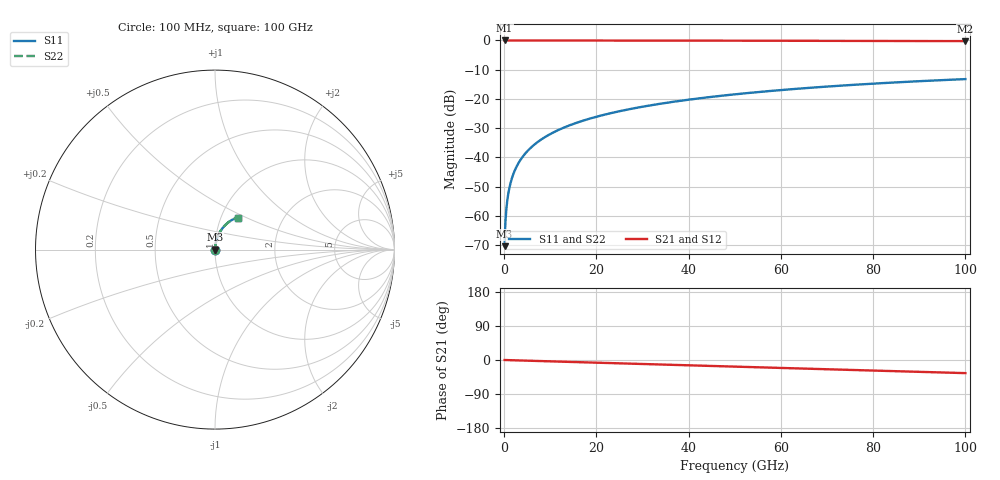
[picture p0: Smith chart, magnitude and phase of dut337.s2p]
! Touchstone file exported from HFSS 2026.1.0
!  File:  C:/ffzhzh/LocalFiles/Ansys_Project_Files/temp_train_TSV_337_1783509768_44152.aedt
!  Generated:  07:24:10 PM Jul  8, 2026
!  Design:  TSV
!  Project:  temp_train_TSV_337_1783509768_44152
! Variables:
!  h_bsmrdl = 2um
!  h_ox = 20um
!  h_rdl = 5um
!  h_sub = 56.56um
!  h_tmrdl = 5um
!  h_tsv = 56.56um
!  h_via = 3um
!  l_bsmrdl = 300um
!  l_sub = 417.26um
!  l_tmrdl = 200um
!  m_sub = 200um
!  pitch = 58.89um
!  r_tsv = 8.63um
!  s_tmrdl = 10um
!  w_bsmrdl = 18um
!  w_sub = 500um
!  w_tmrdl = 12um
!  x_tsv_center1 = 206um
!  x_tsv_center2 = 524um
!  x_tsv_center3 = 736um
!  x_tsv_center4 = 1054um
!  x_tsv_center5 = 1266um
!  x_tsv_center6 = 1584um
# GHz S MA R 50.000000
! Terminal data exported
! Port[1] = TSV1_1_T1
! Port[2] = TSV1_1_T2
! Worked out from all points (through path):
!   1000 points, 100 MHz to 100 GHz, reference 50 ohm
!   highest |S21| = 0.00 dB at 100 MHz (marker M1); lowest = -0.2 dB at 100 GHz (marker M2)
!   group delay of S21, straight-line fit = 962 fs
!   lowest |S11| = -70.3 dB at 100 MHz (marker M3), VSWR 1.00, Z = 50 + j0.028 ohm
!   |S11| at or under -10 dB: start of sweep to end of sweep
!   |S22| runs from -70.3 to -13.2 dB; largest |S21 - S12| = 4.2e-15
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0.1  0.000305 66.8  0.9999 -0.0  0.9999 -0.0  0.000305 66.8
! Gamma 0 0 0 0
! Port Impedance 50 0 50 0
0.3  0.0008424 80.1  0.9999 -0.1  0.9999 -0.1  0.0008424 80.1
0.7  0.001895 83.8  0.9998 -0.3  0.9998 -0.3  0.001895 83.8
0.8  0.002154 84.2  0.9998 -0.3  0.9998 -0.3  0.002154 84.2
1  0.00267 84.7  0.9998 -0.4  0.9998 -0.4  0.00267 84.7
1.3  0.003441 85.3  0.9997 -0.5  0.9997 -0.5  0.003441 85.3
1.7  0.004463 85.6  0.9997 -0.6  0.9997 -0.6  0.004463 85.6
2.3  0.005986 85.9  0.9996 -0.8  0.9996 -0.8  0.005986 85.9
3  0.007748 86.0  0.9996 -1.1  0.9996 -1.1  0.007748 86.0
3.8  0.009751 86.0  0.9995 -1.4  0.9995 -1.4  0.009751 86.0
4.8  0.01225 85.9  0.9994 -1.7  0.9994 -1.7  0.01225 85.9
6  0.01523 85.8  0.9993 -2.1  0.9993 -2.1  0.01523 85.8
8.8  0.02218 85.1  0.9991 -3.1  0.9991 -3.1  0.02218 85.1
12.4  0.03106 84.1  0.9987 -4.4  0.9987 -4.4  0.03106 84.1
16.8  0.04184 82.7  0.9982 -5.9  0.9982 -5.9  0.04184 82.7
24.2  0.05981 80.4  0.9971 -8.5  0.9971 -8.5  0.05981 80.4
33.4  0.08178 77.3  0.9953 -11.8  0.9953 -11.8  0.08178 77.3
41.2  0.09999 74.7  0.9935 -14.5  0.9935 -14.5  0.09999 74.7
50.1  0.1202 71.7  0.9911 -17.6  0.9911 -17.6  0.1202 71.7
66.7  0.1561 66.0  0.9859 -23.3  0.9859 -23.3  0.1561 66.0
83.4  0.1892 60.4  0.9798 -29.0  0.9798 -29.0  0.1892 60.4
100  0.2185 54.9  0.9735 -34.6  0.9735 -34.6  0.2185 54.9
